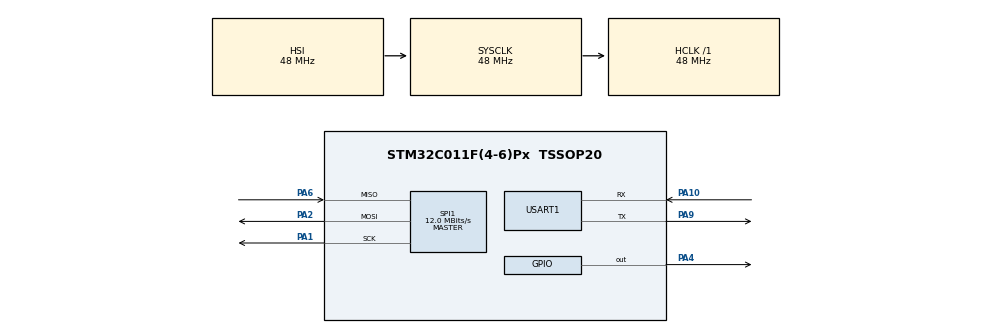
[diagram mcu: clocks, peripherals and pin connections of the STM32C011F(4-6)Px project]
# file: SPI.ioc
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Mcu.Family=STM32C0
Mcu.Name=STM32C011F(4-6)Px
Mcu.Package=TSSOP20
PA1.Mode=Full_Duplex_Master
PA1.Signal=SPI1_SCK
PA10\ [PA12].Mode=Asynchronous
PA10\ [PA12].Signal=USART1_RX
PA13.Mode=Serial_Wire
PA13.Signal=DEBUG_SWDIO
PA14-BOOT0.Mode=Serial_Wire
PA14-BOOT0.Signal=DEBUG_SWCLK
PA2.Mode=Full_Duplex_Master
PA2.Signal=SPI1_MOSI
PA4.Signal=GPIO_Output
PA6.Mode=Full_Duplex_Master
PA6.Signal=SPI1_MISO
PA9\ [PA11].Mode=Asynchronous
PA9\ [PA11].Signal=USART1_TX
ProjectManager.HeapSize=0x200
ProjectManager.StackSize=0x400
ProjectManager.TargetToolchain=STM32CubeIDE
RCC.ADCFreq_Value=48000000
RCC.AHBFreq_Value=48000000
RCC.CortexFreq_Value=48000000
RCC.EXTERNAL_CLOCK_VALUE=12288000
RCC.HCLKFreq_Value=48000000
RCC.HSE_VALUE=8000000
RCC.HSISYSCLKDivider=RCC_HSI_DIV1
RCC.HSI_VALUE=48000000
RCC.LSE_VALUE=32768
RCC.SYSCLKFreq_VALUE=48000000
SPI1.BaudRatePrescaler=SPI_BAUDRATEPRESCALER_4
SPI1.CLKPolarity=SPI_POLARITY_LOW
SPI1.CalculateBaudRate=12.0 MBits/s
SPI1.Direction=SPI_DIRECTION_2LINES
SPI1.Mode=SPI_MODE_MASTER
SPI1.VirtualType=VM_MASTER
USART1.VirtualMode-Asynchronous=VM_ASYNC
VP_SYS_VS_PINREMAP.Mode=PINREMAP
VP_SYS_VS_PINREMAP_10_12.Mode=PINREMAP_10_12
board=custom

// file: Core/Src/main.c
/* USER CODE BEGIN Header */
/**
  ******************************************************************************
  * @file           : main.c
  * @brief          : Main program body
  ******************************************************************************
  * @attention
  *
  * Copyright (c) 2024 STMicroelectronics.
  * All rights reserved.
  *
  * This software is licensed under terms that can be found in the LICENSE file
  * in the root directory of this software component.
  * If no LICENSE file comes with this software, it is provided AS-IS.
  *
  ******************************************************************************
  */
/* USER CODE END Header */
#include "main.h"

/* USER CODE BEGIN Includes */
#include "lis3dh.h"
#include "stdio.h"
#include "string.h"
/* USER CODE END Includes */

SPI_HandleTypeDef hspi1;

UART_HandleTypeDef huart1;

/* USER CODE BEGIN PV */
char uart_buf[50];
char acel_buf[50];

/* USER CODE END PV */

void SystemClock_Config(void);
static void MX_GPIO_Init(void);
static void MX_SPI1_Init(void);
static void MX_USART1_UART_Init(void);

int main(void)
{

  /* MCU Configuration--------------------------------------------------------*/

  /* Reset of all peripherals, Initializes the Flash interface and the Systick. */
  HAL_Init();

  /* Configure the system clock */
  SystemClock_Config();

  /* Initialize all configured peripherals */
  MX_GPIO_Init();
  MX_SPI1_Init();
  MX_USART1_UART_Init();
  /* USER CODE BEGIN 2 */
  /* Initialize LIS3DH device */
  // CS pin should default high
  // teste uart
  sprintf(uart_buf, "SPI Test\r\n");
  HAL_UART_Transmit(&huart1, (uint8_t *)uart_buf, strlen(uart_buf), 1000);
  HAL_GPIO_WritePin(GPIOB, GPIO_PIN_6, GPIO_PIN_SET);
  HAL_Delay(500);
  LIS3DH_Init();
  /* USER CODE END 2 */

  /* Infinite loop */
  while (1)
  {

    /* USER CODE BEGIN 3 */
	int16_t accel[3];
    LIS3DH_ReadAccel(accel);
	// Print values via UART
    sprintf(acel_buf, "Leitura Bruta - X: %i, Y: %i, Z: %i\r\n", accel[0], accel[1], accel[2]);
	HAL_UART_Transmit(&huart1, (uint8_t *)acel_buf, strlen(acel_buf), 1000);
	HAL_Delay(1000);
	// Conversão para mg (miligravidade)
	int32_t accel_x_mg = (int32_t)accel[0] * 1000 / 16384;
	int32_t accel_y_mg = (int32_t)accel[1] * 1000 / 16384;
	int32_t accel_z_mg = (int32_t)accel[2] * 1000 / 16384;
	sprintf(acel_buf, "Aceleracao (mg) - X: %ld, Y: %ld, Z: %ld\r\n", accel_x_mg, accel_y_mg, accel_z_mg);
	HAL_UART_Transmit(&huart1, (uint8_t *)acel_buf, strlen(acel_buf), 1000);
	HAL_Delay(1000);
  }
  /* USER CODE END 3 */
}

void SystemClock_Config(void)
{
  RCC_OscInitTypeDef RCC_OscInitStruct = {0};
  RCC_ClkInitTypeDef RCC_ClkInitStruct = {0};

  /** Initializes the RCC Oscillators according to the specified parameters
  * in the RCC_OscInitTypeDef structure.
  */
  RCC_OscInitStruct.OscillatorType = RCC_OSCILLATORTYPE_HSI;
  RCC_OscInitStruct.HSIState = RCC_HSI_ON;
  RCC_OscInitStruct.HSIDiv = RCC_HSI_DIV1;
  RCC_OscInitStruct.HSICalibrationValue = RCC_HSICALIBRATION_DEFAULT;
  if (HAL_RCC_OscConfig(&RCC_OscInitStruct) != HAL_OK)
  {
    Error_Handler();
  }

  /** Initializes the CPU, AHB and APB buses clocks
  */
  RCC_ClkInitStruct.ClockType = RCC_CLOCKTYPE_HCLK|RCC_CLOCKTYPE_SYSCLK
                              |RCC_CLOCKTYPE_PCLK1;
  RCC_ClkInitStruct.SYSCLKSource = RCC_SYSCLKSOURCE_HSI;
  RCC_ClkInitStruct.SYSCLKDivider = RCC_SYSCLK_DIV1;
  RCC_ClkInitStruct.AHBCLKDivider = RCC_HCLK_DIV1;
  RCC_ClkInitStruct.APB1CLKDivider = RCC_APB1_DIV1;

  if (HAL_RCC_ClockConfig(&RCC_ClkInitStruct, FLASH_LATENCY_1) != HAL_OK)
  {
    Error_Handler();
  }
}

static void MX_SPI1_Init(void)
{

  /* SPI1 parameter configuration*/
  hspi1.Instance = SPI1;
  hspi1.Init.Mode = SPI_MODE_MASTER;
  hspi1.Init.Direction = SPI_DIRECTION_2LINES;
  hspi1.Init.DataSize = SPI_DATASIZE_8BIT;
  hspi1.Init.CLKPolarity = SPI_POLARITY_LOW;
  hspi1.Init.CLKPhase = SPI_PHASE_1EDGE;
  hspi1.Init.NSS = SPI_NSS_SOFT;
  hspi1.Init.BaudRatePrescaler = SPI_BAUDRATEPRESCALER_32;
  hspi1.Init.FirstBit = SPI_FIRSTBIT_MSB;
  hspi1.Init.TIMode = SPI_TIMODE_DISABLE;
  hspi1.Init.CRCCalculation = SPI_CRCCALCULATION_DISABLE;
  hspi1.Init.CRCPolynomial = 7;
  if (HAL_SPI_Init(&hspi1) != HAL_OK)
  {
    Error_Handler();
  }

}

static void MX_USART1_UART_Init(void)
{

  huart1.Instance = USART1;
  huart1.Init.BaudRate = 115200;
  huart1.Init.WordLength = UART_WORDLENGTH_8B;
  huart1.Init.StopBits = UART_STOPBITS_1;
  huart1.Init.Parity = UART_PARITY_NONE;
  huart1.Init.Mode = UART_MODE_TX_RX;
  huart1.Init.HwFlowCtl = UART_HWCONTROL_NONE;
  huart1.Init.OverSampling = UART_OVERSAMPLING_16;
  huart1.Init.OneBitSampling = UART_ONE_BIT_SAMPLE_DISABLE;
  huart1.Init.ClockPrescaler = UART_PRESCALER_DIV1;
  huart1.AdvancedInit.AdvFeatureInit = UART_ADVFEATURE_NO_INIT;
  if (HAL_UART_Init(&huart1) != HAL_OK)
  {
    Error_Handler();
  }
  if (HAL_UARTEx_SetTxFifoThreshold(&huart1, UART_TXFIFO_THRESHOLD_1_8) != HAL_OK)
  {
    Error_Handler();
  }
  if (HAL_UARTEx_SetRxFifoThreshold(&huart1, UART_RXFIFO_THRESHOLD_1_8) != HAL_OK)
  {
    Error_Handler();
  }
  if (HAL_UARTEx_DisableFifoMode(&huart1) != HAL_OK)
  {
    Error_Handler();
  }

}

static void MX_GPIO_Init(void)
{
  GPIO_InitTypeDef GPIO_InitStruct = {0};

  /* GPIO Ports Clock Enable */
  __HAL_RCC_GPIOA_CLK_ENABLE();

  /*Configure GPIO pin Output Level */
  HAL_GPIO_WritePin(GPIOA, GPIO_PIN_4, GPIO_PIN_RESET);

  /*Configure GPIO pin : PA4 */
  GPIO_InitStruct.Pin = GPIO_PIN_4;
  GPIO_InitStruct.Mode = GPIO_MODE_OUTPUT_PP;
  GPIO_InitStruct.Pull = GPIO_NOPULL;
  GPIO_InitStruct.Speed = GPIO_SPEED_FREQ_LOW;
  HAL_GPIO_Init(GPIOA, &GPIO_InitStruct);

}

void Error_Handler(void)
{
  __disable_irq();
  while (1)
  {
  }
}
